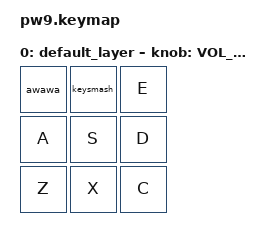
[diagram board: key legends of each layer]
#include <behaviors/keysmash.dtsi>
#include <behaviors/awawa.dtsi>
#include <behaviors.dtsi>
#include <dt-bindings/zmk/keys.h>

/ {
    macros {
        keypad_00: keypad_00 {
            compatible = "zmk,behavior-macro";
            #binding-cells = <0>;
            bindings = <&kp KP_N0 &kp KP_N0>;
            label = "KEYPAD_00";
        };
    };

    keymap {
        compatible = "zmk,keymap";

        default_layer {
            bindings = <
&awawa  &keysmash  &kp E
&kp A   &kp S      &kp D
&kp Z   &kp X      &kp C
            >;

            sensor-bindings = <&inc_dec_kp C_VOL_UP C_VOL_DN &inc_dec_kp PG_UP PG_DN>;
        };
    };
};
